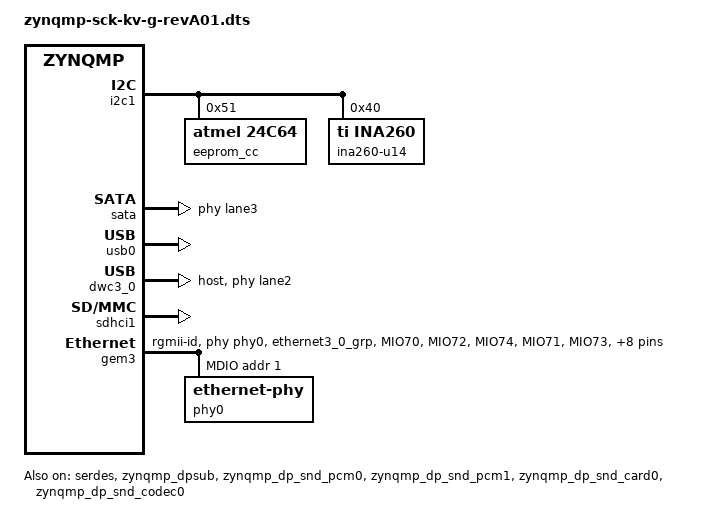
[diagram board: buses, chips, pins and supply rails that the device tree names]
// SPDX-License-Identifier: GPL-2.0
/*
 * dts file for KV260 revA Carrier Card
 *
 * (C) Copyright 2020, Xilinx, Inc.
 *
 * Michal Simek <michal.simek@xilinx.com>
 */

 #include <dt-bindings/gpio/gpio.h>
 #include <dt-bindings/net/ti-dp83867.h>
 #include <dt-bindings/phy/phy.h>
 #include <dt-bindings/pinctrl/pinctrl-zynqmp.h>

/dts-v1/;
/plugin/;

/{
	compatible = "xlnx,zynqmp-sk-kv260-revA", "xlnx,zynqmp-sk-kv260", "xlnx,zynqmp";

	fragment1{
		target = <&i2c1>; /* I2C_SCK C23/C24 - MIO from SOM */

		__overlay__ {
			#address-cells = <1>;
			#size-cells = <0>;
			eeprom_cc: eeprom@51 { /* u15 - 0x51 and 0x59 - required by spec */
				compatible = "atmel,24c64";
				reg = <0x51>;
			};

			u14: ina260@40 { /* u14 */
				compatible = "ti,ina260";
				#io-channel-cells = <1>;
				label = "ina260-u14";
				reg = <0x40>;
			};
			/* u27 - 0xe0 - STDP4320 DP/HDMI splitter */
		};
	};

/* DP/USB 3.0 and SATA */
	fragment2 {
		target = <&serdes>;
		__overlay__ {
			status = "okay";
		};
	};

	fragment3 {
		target = <&sata>;
		__overlay__ {
			status = "okay";
			/* SATA OOB timing settings */
			ceva,p0-cominit-params = /bits/ 8 <0x18 0x40 0x18 0x28>;
			ceva,p0-comwake-params = /bits/ 8 <0x06 0x14 0x08 0x0E>;
			ceva,p0-burst-params = /bits/ 8 <0x13 0x08 0x4A 0x06>;
			ceva,p0-retry-params = /bits/ 16 <0x96A4 0x3FFC>;
			ceva,p1-cominit-params = /bits/ 8 <0x18 0x40 0x18 0x28>;
			ceva,p1-comwake-params = /bits/ 8 <0x06 0x14 0x08 0x0E>;
			ceva,p1-burst-params = /bits/ 8 <0x13 0x08 0x4A 0x06>;
			ceva,p1-retry-params = /bits/ 16 <0x96A4 0x3FFC>;
			phy-names = "sata-phy";
			phys = <&lane3 PHY_TYPE_SATA 1 2 125000000>;
		};
	};

	fragment4 {
		target = <&zynqmp_dpsub>;
		__overlay__ {
			status = "okay";
			phy-names = "dp-phy0", "dp-phy1";
			phys = <&lane1 PHY_TYPE_DP 0 0 27000000>, <&lane0 PHY_TYPE_DP 1 0 27000000>;
		};
	};

	fragment5 {
		target = <&zynqmp_dp_snd_pcm0>;
		__overlay__ {
			status = "okay";
		};
	};

	fragment6 {
		target = <&zynqmp_dp_snd_pcm1>;
		__overlay__ {
			status = "okay";
		};
	};

	fragment7 {
		target = <&zynqmp_dp_snd_card0>;
		__overlay__ {
			status = "okay";
		};
	};

	fragment8 {
		target = <&zynqmp_dp_snd_codec0>;
		__overlay__ {
			status = "okay";
		};
	};

	fragment9 {
		target = <&xlnx_dpdma>;
		__overlay__ {
			status = "okay";
		};
	};

	fragment10 {
		target = <&usb0>;
		__overlay__ {
			status = "okay";
		};
	};

	fragment11 {
		target = <&dwc3_0>;
		__overlay__ {
			status = "okay";
			dr_mode = "host";
			snps,usb3_lpm_capable;
			phy-names = "usb3-phy";
			phys = <&lane2 PHY_TYPE_USB3 0 1 26000000>;
			maximum-speed = "super-speed";
		};
	};

	fragment12 {
		target = <&sdhci1>; /* on CC with tuned parameters */
		__overlay__ {
			status = "okay";
			/*
			 * SD 3.0 requires level shifter and this property
			 * should be removed if the board has level shifter and
			 * need to work in UHS mode
			 */
			no-1-8-v;
			disable-wp;
			xlnx,mio-bank = <0>;
		};
	};

	fragment13 {
		target = <&gem3>; /* required by spec */
		__overlay__ {
			#address-cells = <1>;
			#size-cells = <0>;
			status = "okay";
			phy-handle = <&phy0>;
			phy-mode = "rgmii-id";
			pinctrl-names = "default";
			pinctrl-0 = <&pinctrl_gem3_default>;

			mdio: mdio {
				#address-cells = <1>;
				#size-cells = <0>;
				reset-gpios = <&gpio 38 GPIO_ACTIVE_LOW>;
				reset-delay-us = <2>;

				phy0: ethernet-phy@1 {
					#phy-cells = <1>;
					reg = <1>;
					ti,rx-internal-delay = <DP83867_RGMIIDCTL_2_25_NS>;
					ti,tx-internal-delay = <DP83867_RGMIIDCTL_2_75_NS>;
					ti,fifo-depth = <DP83867_PHYCR_FIFO_DEPTH_4_B_NIB>;
					ti,dp83867-rxctrl-strap-quirk;
				};
			};
		};
	};

	fragment14 {
		target = <&pinctrl0>; /* required by spec */
		__overlay__ {
			status = "okay";
			pinctrl_gem3_default: gem3-default {
				mux {
					function = "ethernet3";
					groups = "ethernet3_0_grp";
				};

				conf {
					groups = "ethernet3_0_grp";
					slew-rate = <SLEW_RATE_SLOW>;
					io-standard = <IO_STANDARD_LVCMOS18>;
				};

				conf-rx {
					pins = "MIO70", "MIO72", "MIO74";
					bias-high-impedance;
					low-power-disable;
				};

				conf-bootstrap {
					pins = "MIO71", "MIO73", "MIO75";
					bias-disable;
					low-power-disable;
				};

				conf-tx {
					pins = "MIO64", "MIO65", "MIO66",
					       "MIO67", "MIO68", "MIO69";
					bias-disable;
					low-power-enable;
				};

				mux-mdio {
					function = "mdio3";
					groups = "mdio3_0_grp";
				};

				conf-mdio {
					groups = "mdio3_0_grp";
					slew-rate = <SLEW_RATE_SLOW>;
					io-standard = <IO_STANDARD_LVCMOS18>;
					bias-disable;
				};
			};
		};
	};
};
